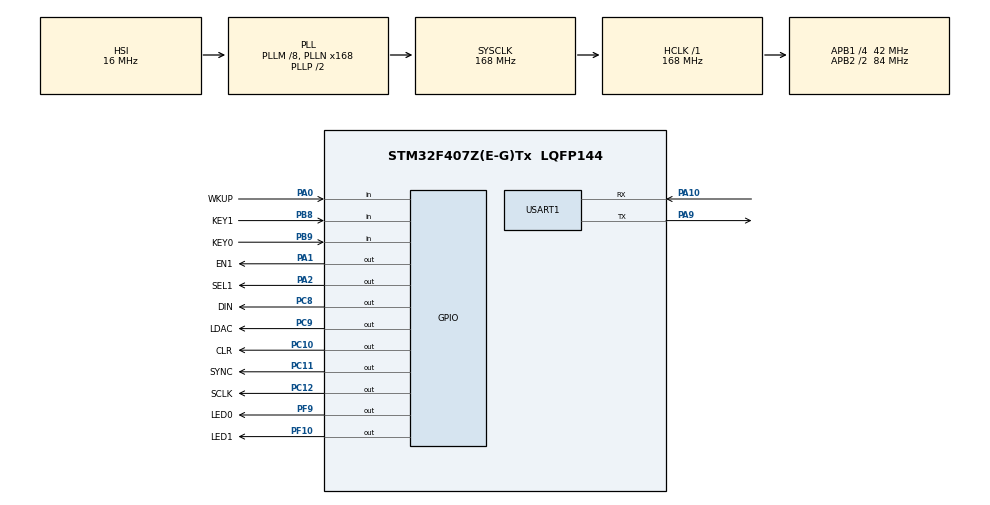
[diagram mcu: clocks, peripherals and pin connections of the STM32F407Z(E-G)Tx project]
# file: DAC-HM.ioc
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Mcu.Family=STM32F4
Mcu.Name=STM32F407Z(E-G)Tx
Mcu.Package=LQFP144
NVIC.PriorityGroup=NVIC_PRIORITYGROUP_4
NVIC.TIM2_IRQn=true\:0\:0\:false\:false\:true\:true\:true\:true
NVIC.TIM3_IRQn=true\:0\:0\:false\:false\:true\:true\:true\:true
NVIC.USART1_IRQn=true\:0\:0\:false\:false\:true\:true\:true\:true
PA0-WKUP.GPIO_Label=WKUP
PA0-WKUP.GPIO_PuPd=GPIO_PULLDOWN
PA0-WKUP.Signal=GPIO_Input
PA1.GPIO_Label=EN1
PA1.GPIO_PuPd=GPIO_PULLUP
PA1.GPIO_Speed=GPIO_SPEED_FREQ_HIGH
PA1.PinState=GPIO_PIN_SET
PA1.Signal=GPIO_Output
PA10.Mode=Asynchronous
PA10.Signal=USART1_RX
PA13.Mode=Serial_Wire
PA13.Signal=SYS_JTMS-SWDIO
PA14.Mode=Serial_Wire
PA14.Signal=SYS_JTCK-SWCLK
PA2.GPIO_Label=SEL1
PA2.GPIO_ModeDefaultOutputPP=GPIO_MODE_OUTPUT_PP
PA2.GPIO_PuPd=GPIO_PULLUP
PA2.GPIO_Speed=GPIO_SPEED_FREQ_HIGH
PA2.PinState=GPIO_PIN_RESET
PA2.Signal=GPIO_Output
PA9.Mode=Asynchronous
PA9.Signal=USART1_TX
PB8.GPIO_Label=KEY1
PB8.GPIO_PuPd=GPIO_PULLUP
PB8.Signal=GPIO_Input
PB9.GPIO_Label=KEY0
PB9.GPIO_PuPd=GPIO_PULLUP
PB9.Signal=GPIO_Input
PC10.GPIO_Label=CLR
PC10.GPIO_ModeDefaultOutputPP=GPIO_MODE_OUTPUT_PP
PC10.GPIO_PuPd=GPIO_PULLUP
PC10.GPIO_Speed=GPIO_SPEED_FREQ_HIGH
PC10.PinState=GPIO_PIN_RESET
PC10.Signal=GPIO_Output
PC11.GPIO_Label=SYNC
PC11.GPIO_ModeDefaultOutputPP=GPIO_MODE_OUTPUT_PP
PC11.GPIO_PuPd=GPIO_PULLUP
PC11.GPIO_Speed=GPIO_SPEED_FREQ_HIGH
PC11.PinState=GPIO_PIN_RESET
PC11.Signal=GPIO_Output
PC12.GPIO_Label=SCLK
PC12.GPIO_ModeDefaultOutputPP=GPIO_MODE_OUTPUT_PP
PC12.GPIO_PuPd=GPIO_PULLUP
PC12.GPIO_Speed=GPIO_SPEED_FREQ_HIGH
PC12.PinState=GPIO_PIN_RESET
PC12.Signal=GPIO_Output
PC14-OSC32_IN.Mode=LSE-External-Oscillator
PC14-OSC32_IN.Signal=RCC_OSC32_IN
PC15-OSC32_OUT.Mode=LSE-External-Oscillator
PC15-OSC32_OUT.Signal=RCC_OSC32_OUT
PC8.GPIO_Label=DIN
PC8.GPIO_ModeDefaultOutputPP=GPIO_MODE_OUTPUT_PP
PC8.GPIO_PuPd=GPIO_PULLUP
PC8.GPIO_Speed=GPIO_SPEED_FREQ_HIGH
PC8.PinState=GPIO_PIN_RESET
PC8.Signal=GPIO_Output
PC9.GPIO_Label=LDAC
PC9.GPIO_ModeDefaultOutputPP=GPIO_MODE_OUTPUT_PP
PC9.GPIO_PuPd=GPIO_PULLUP
PC9.GPIO_Speed=GPIO_SPEED_FREQ_HIGH
PC9.PinState=GPIO_PIN_RESET
PC9.Signal=GPIO_Output
PF10.GPIO_Label=LED1
PF10.GPIO_PuPd=GPIO_PULLUP
PF10.GPIO_Speed=GPIO_SPEED_FREQ_HIGH
PF10.PinState=GPIO_PIN_SET
PF10.Signal=GPIO_Output
PF9.GPIO_Label=LED0
PF9.GPIO_PuPd=GPIO_PULLUP
PF9.GPIO_Speed=GPIO_SPEED_FREQ_HIGH
PF9.PinState=GPIO_PIN_SET
PF9.Signal=GPIO_Output
PH0-OSC_IN.Mode=HSE-External-Oscillator
PH0-OSC_IN.Signal=RCC_OSC_IN
PH1-OSC_OUT.Mode=HSE-External-Oscillator
PH1-OSC_OUT.Signal=RCC_OSC_OUT
ProjectManager.HeapSize=0x200
ProjectManager.StackSize=0x400
ProjectManager.TargetToolchain=STM32CubeIDE
RCC.48MHZClocksFreq_Value=84000000
RCC.AHBFreq_Value=168000000
RCC.APB1CLKDivider=RCC_HCLK_DIV4
RCC.APB1Freq_Value=42000000
RCC.APB1TimFreq_Value=84000000
RCC.APB2CLKDivider=RCC_HCLK_DIV2
RCC.APB2Freq_Value=84000000
RCC.APB2TimFreq_Value=168000000
RCC.CortexFreq_Value=168000000
RCC.HCLKFreq_Value=168000000
RCC.HSE_VALUE=25000000
RCC.HSI_VALUE=16000000
RCC.PLLM=8
RCC.PLLN=168
RCC.SYSCLKFreq_VALUE=168000000
RCC.SYSCLKSource=RCC_SYSCLKSOURCE_PLLCLK
RCC.VCOOutputFreq_Value=336000000
TIM2.Period=10-1
TIM2.Prescaler=84-1
TIM3.Period=10-1
TIM3.Prescaler=84-1
USART1.VirtualMode=VM_ASYNC
VP_TIM2_VS_ClockSourceINT.Mode=Internal
VP_TIM3_VS_ClockSourceINT.Mode=Internal
board=custom

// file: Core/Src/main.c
/* USER CODE BEGIN Header */
/**
  ******************************************************************************
  * @file           : main.c
  * @brief          : Main program body
  ******************************************************************************
  * @attention
  *
  * Copyright (c) 2024 STMicroelectronics.
  * All rights reserved.
  *
  * This software is licensed under terms that can be found in the LICENSE file
  * in the root directory of this software component.
  * If no LICENSE file comes with this software, it is provided AS-IS.
  *
  ******************************************************************************
  */
/* USER CODE END Header */
#include "main.h"
#include "tim.h"
#include "usart.h"
#include "gpio.h"

/* USER CODE BEGIN Includes */
#include "dac_waveform.h"
#include "usart_utilize.h"
#include "key.h"
#include "usart_handle.h"
#include "retarget.h"
#include "DAC8563.h"
#include "Tmux6119.h"
/* USER CODE END Includes */

void SystemClock_Config(void);

int main(void)
{

  /* MCU Configuration--------------------------------------------------------*/

  /* Reset of all peripherals, Initializes the Flash interface and the Systick. */
  HAL_Init();

  /* Configure the system clock */
  SystemClock_Config();

  /* Initialize all configured peripherals */
  MX_GPIO_Init();
  MX_USART1_UART_Init();
  MX_TIM2_Init();
  MX_TIM3_Init();
  /* USER CODE BEGIN 2 */
    RetargetInit(&huart1);//将printf函数映射到uart1串口�?
    HAL_TIM_Base_Start_IT(&htim2);
    HAL_UART_Receive_IT(&huart1,(uint8_t *)&USART1_NewData,1);
    DAC8563_Init();
    HAL_Delay(10);
    DAC_OutA(32767);//0V
    printf("initial successful!");
  /* USER CODE END 2 */

  /* Infinite loop */
  /* USER CODE BEGIN WHILE */
  while (1)
  {
      uart1_handle();
      Tmax_state();
    /* USER CODE END WHILE */

  }
}

void SystemClock_Config(void)
{
  RCC_OscInitTypeDef RCC_OscInitStruct = {0};
  RCC_ClkInitTypeDef RCC_ClkInitStruct = {0};

  /** Configure the main internal regulator output voltage
  */
  __HAL_RCC_PWR_CLK_ENABLE();
  __HAL_PWR_VOLTAGESCALING_CONFIG(PWR_REGULATOR_VOLTAGE_SCALE1);

  /** Initializes the RCC Oscillators according to the specified parameters
  * in the RCC_OscInitTypeDef structure.
  */
  RCC_OscInitStruct.OscillatorType = RCC_OSCILLATORTYPE_HSI;
  RCC_OscInitStruct.HSIState = RCC_HSI_ON;
  RCC_OscInitStruct.HSICalibrationValue = RCC_HSICALIBRATION_DEFAULT;
  RCC_OscInitStruct.PLL.PLLState = RCC_PLL_ON;
  RCC_OscInitStruct.PLL.PLLSource = RCC_PLLSOURCE_HSI;
  RCC_OscInitStruct.PLL.PLLM = 8;
  RCC_OscInitStruct.PLL.PLLN = 168;
  RCC_OscInitStruct.PLL.PLLP = RCC_PLLP_DIV2;
  RCC_OscInitStruct.PLL.PLLQ = 4;
  if (HAL_RCC_OscConfig(&RCC_OscInitStruct) != HAL_OK)
  {
    Error_Handler();
  }

  /** Initializes the CPU, AHB and APB buses clocks
  */
  RCC_ClkInitStruct.ClockType = RCC_CLOCKTYPE_HCLK|RCC_CLOCKTYPE_SYSCLK
                              |RCC_CLOCKTYPE_PCLK1|RCC_CLOCKTYPE_PCLK2;
  RCC_ClkInitStruct.SYSCLKSource = RCC_SYSCLKSOURCE_PLLCLK;
  RCC_ClkInitStruct.AHBCLKDivider = RCC_SYSCLK_DIV1;
  RCC_ClkInitStruct.APB1CLKDivider = RCC_HCLK_DIV4;
  RCC_ClkInitStruct.APB2CLKDivider = RCC_HCLK_DIV2;

  if (HAL_RCC_ClockConfig(&RCC_ClkInitStruct, FLASH_LATENCY_5) != HAL_OK)
  {
    Error_Handler();
  }
}

void Error_Handler(void)
{
  __disable_irq();
  while (1)
  {
  }
}
